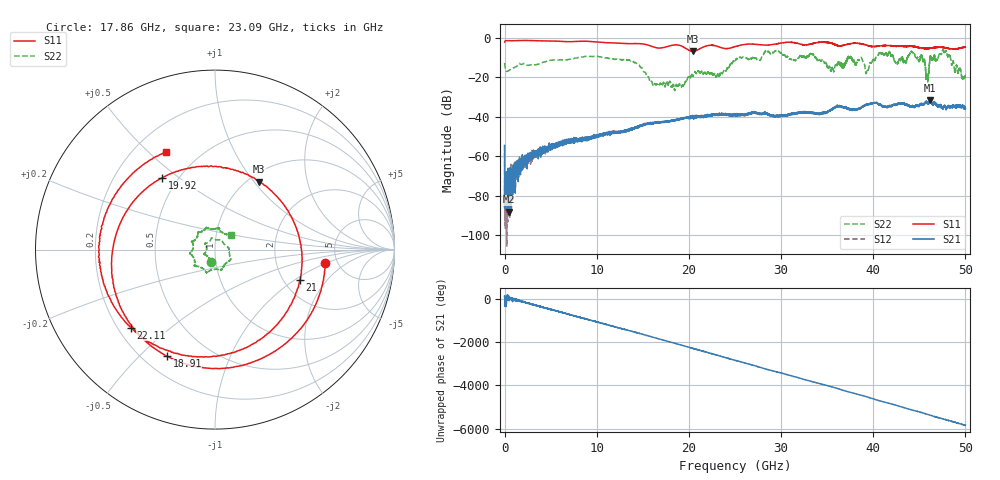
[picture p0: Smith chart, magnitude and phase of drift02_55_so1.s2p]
!Created with skrf (http://scikit-rf.org).
# Hz S RI R 50.0
!freq ReS11 ImS11 ReS21 ImS21 ReS12 ImS12 ReS22 ImS22
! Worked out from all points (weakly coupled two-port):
!   10001 points, 300 kHz to 50 GHz, reference 50 ohm
!   highest |S21| = -31.64 dB at 46.19 GHz (marker M1); lowest = -88.1 dB at 450.3 MHz (marker M2)
!   lowest |S11| = -6.9 dB at 20.42 GHz (marker M3), VSWR 2.64, Z = 55.8 + j53 ohm
!   |S11| at or under -10 dB: nowhere
!   |S22| runs from -26.7 to -5.8 dB; largest |S21 - S12| = 0.0035
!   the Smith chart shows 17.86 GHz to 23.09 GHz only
!   S11 on the Smith chart (normalised r, x): 17.86 GHz: 3.99, -0.99; 18.91 GHz: 0.29, -0.61; 19.92 GHz: 0.41, +0.44; 21 GHz: 2.46, -1.10; 22.11 GHz: 0.25, -0.37; 23.09 GHz: 0.33, +0.57
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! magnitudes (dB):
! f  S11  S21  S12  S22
! 300 kHz  -2.1  -54.5  -54.3  -12.7
! 450.3 MHz  -1.4  -88.1  -74.7  -16.6
! 3.135 GHz  -1.4  -56.9  -59.2  -13.4
! 8.335 GHz  -1.7  -52.0  -52.1  -9.7
! 13.71 GHz  -2.9  -46.4  -46.5  -11.7
! 16.67 GHz  -5.2  -42.4  -42.8  -23.6
! 17.86 GHz  -4.2  -42.2  -42.2  -22.8
! 18.91 GHz  -3.7  -41.1  -41.4  -23.8
! 19.92 GHz  -6.1  -40.2  -40.2  -19.8
! 20.42 GHz  -6.9  -40.0  -40.1  -19.1
! 21 GHz  -6.0  -40.0  -39.6  -16.7
! 22.11 GHz  -3.9  -39.2  -39.5  -17.6
! 23.09 GHz  -4.3  -38.9  -39.0  -18.5
! 25 GHz  -4.5  -38.9  -39.0  -11.6
! 33.34 GHz  -3.0  -37.8  -37.7  -8.4
! 39.33 GHz  -3.8  -33.9  -33.6  -16.6
! 41.67 GHz  -3.9  -34.5  -34.8  -7.9
! 44.26 GHz  -4.2  -34.5  -34.4  -7.4
! 45.85 GHz  -5.4  -33.0  -33.0  -18.8
! 46.19 GHz  -5.3  -31.6  -32.0  -9.9
! 47.74 GHz  -5.0  -34.3  -34.3  -7.2
! 50 GHz  -4.7  -35.9  -35.5  -19.0
